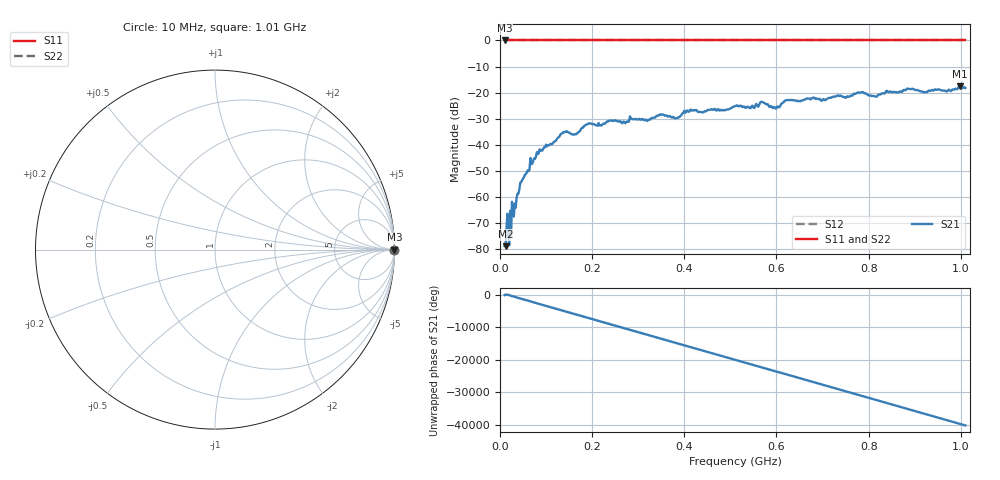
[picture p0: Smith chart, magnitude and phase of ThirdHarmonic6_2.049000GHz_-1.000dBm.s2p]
! 8/17/2025 12:34:09 AM
! C:\ANRITSUVNA\TEMP\TEMP.S2P
! CHANNEL.1
! TR.MEASUREMENT
! RAW.DATA
! RF.CORRECTION.OFF
! AVERAGING.OFF
! IF.BANDWIDTH: 5KHZ
! SWEEPTYPE:  FREQ.SWEEP(Linear)
! Reference Plane Port Info
! PORT:  PORT1  PORT2
! DISTANCE:  0  m  0  m
! TIME:  0  s  0  s
! PHASE.OFFSET:  0  deg.  0  deg.
! LOSS:  0  dB  0  dB
! REF.LOSS:  0  dB  0  dB
! REF.FREQ:  0  Hz  0  Hz
! Power Info
! POWER:  -20  dBm  -20  dBm
! EFF.POWER:  -20  dBm  -20  dBm
! SOURCE.ATTEN:  0  dB  0  dB
! TEST.ATTEN:  0  dB  0  dB
# GHZ S RI R 50.0
! FREQ.GHZ  S11RE  S11IM  S21RE  S21IM  S12RE  S12IM  S22RE  S22IM
!; PortSelection: Port_12
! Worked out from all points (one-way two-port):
!   501 points, 10 MHz to 1.01 GHz, reference 50 ohm
!   highest |S21| = -17.57 dB at 998 MHz (marker M1); lowest = -79.0 dB at 12 MHz (marker M2)
!   lowest |S11| = 0.0 dB at 10 MHz (marker M3)
!   |S11| at or under -10 dB: nowhere
!   |S22| runs from 0.0 to 0.0 dB; largest |S21 - S12| = 1.1
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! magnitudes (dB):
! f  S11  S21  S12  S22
! 10 MHz  0.0  -78.9  0.0  0.0
! 12 MHz  0.0  -79.0  0.0  0.0
! 22 MHz  0.0  -65.4  0.0  0.0
! 48 MHz  0.0  -53.6  0.0  0.0
! 82 MHz  0.0  -43.6  0.0  0.0
! 136 MHz  0.0  -35.6  0.0  0.0
! 162 MHz  0.0  -36.1  0.0  0.0
! 178 MHz  0.0  -33.5  0.0  0.0
! 194 MHz  0.0  -31.9  0.0  0.0
! 344 MHz  0.0  -28.8  0.0  0.0
! 382 MHz  0.0  -29.8  0.0  0.0
! 410 MHz  0.0  -27.4  0.0  0.0
! 510 MHz  0.0  -25.2  0.0  0.0
! 570 MHz  0.0  -23.7  0.0  0.0
! 596 MHz  0.0  -25.5  0.0  0.0
! 622 MHz  0.0  -22.9  0.0  0.0
! 678 MHz  0.0  -22.2  0.0  0.0
! 784 MHz  0.0  -20.0  0.0  0.0
! 814 MHz  0.0  -21.5  0.0  0.0
! 844 MHz  0.0  -19.8  0.0  0.0
! 998 MHz  0.0  -17.6  0.0  0.0
! 1.01 GHz  0.0  -18.3  0.0  0.0
